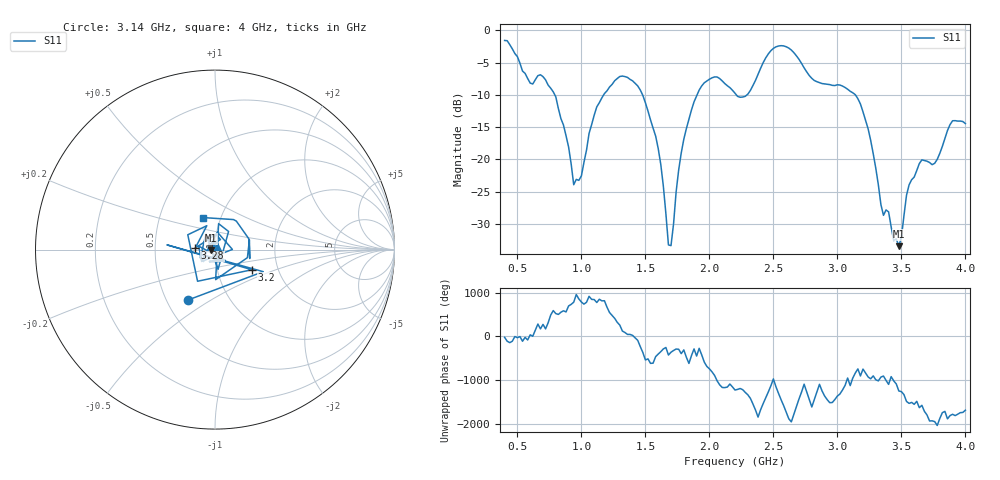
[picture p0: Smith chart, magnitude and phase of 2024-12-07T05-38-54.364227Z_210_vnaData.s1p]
!Created with skrf (http://scikit-rf.org).
# Hz S RI R 50.0
!freq ReS11 ImS11
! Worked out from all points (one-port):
!   181 points, 400 MHz to 4 GHz, reference 50 ohm
!   lowest |S11| = -33.4 dB at 3.48 GHz (marker M1), VSWR 1.04, Z = 47.9 - j0.356 ohm
!   |S11| at or under -10 dB: 792.4 MHz to 1.174 GHz (381.3 MHz wide, 38.8 % of centre); 1.478 GHz to 1.903 GHz (425.2 MHz wide, 25.1 % of centre); 3.141 GHz to end of sweep (the widest 3 of 4)
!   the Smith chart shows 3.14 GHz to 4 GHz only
!   S11 on the Smith chart (normalised r, x): 3.14 GHz: 0.64, -0.40; 3.2 GHz: 1.47, -0.35; 3.28 GHz: 0.80, +0.01; 4 GHz: 0.83, +0.31
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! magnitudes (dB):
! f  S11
! 400 MHz  -1.6
! 600 MHz  -8.2
! 720 MHz  -7.7
! 860 MHz  -14.7
! 940 MHz  -23.9
! 980 MHz  -23.2
! 1.12 GHz  -11.9
! 1.3 GHz  -7.1
! 1.46 GHz  -9.2
! 1.58 GHz  -16.4
! 1.68 GHz  -33.3
! 1.7 GHz  -33.4
! 1.76 GHz  -21.6
! 1.94 GHz  -8.6
! 2.2 GHz  -9.7
! 2.3 GHz  -9.9
! 2.5 GHz  -2.8
! 2.66 GHz  -3.5
! 3.1 GHz  -9.4
! 3.14 GHz  -10.0
! 3.2 GHz  -12.6
! 3.28 GHz  -19.1
! 3.36 GHz  -28.7
! 3.48 GHz  -33.4
! 3.56 GHz  -23.9
! 3.76 GHz  -20.6
! 3.9 GHz  -14.0
! 4 GHz  -14.4
